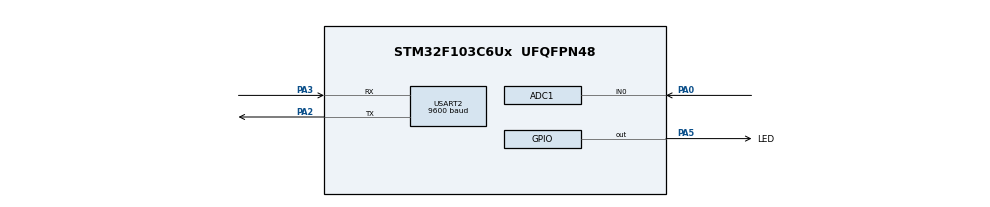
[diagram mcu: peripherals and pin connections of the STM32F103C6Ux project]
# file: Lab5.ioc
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ADC1.Channel-1\#ChannelRegularConversion=ADC_CHANNEL_0
ADC1.ContinuousConvMode=ENABLE
ADC1.NbrOfConversionFlag=1
ADC1.Rank-1\#ChannelRegularConversion=1
ADC1.SamplingTime-1\#ChannelRegularConversion=ADC_SAMPLETIME_1CYCLE_5
ADC1.master=1
Mcu.Family=STM32F1
Mcu.Name=STM32F103C6Ux
Mcu.Package=UFQFPN48
NVIC.PriorityGroup=NVIC_PRIORITYGROUP_4
NVIC.TIM2_IRQn=true\:0\:0\:false\:false\:true\:true\:true
NVIC.USART2_IRQn=true\:0\:0\:false\:false\:true\:true\:true
PA0-WKUP.Signal=ADCx_IN0
PA2.Mode=Asynchronous
PA2.Signal=USART2_TX
PA3.Mode=Asynchronous
PA3.Signal=USART2_RX
PA5.GPIO_Label=LED
PA5.Signal=GPIO_Output
ProjectManager.HeapSize=0x200
ProjectManager.StackSize=0x400
ProjectManager.TargetToolchain=STM32CubeIDE
RCC.APB1Freq_Value=8000000
RCC.APB2Freq_Value=8000000
SH.ADCx_IN0.0=ADC1_IN0,IN0
TIM2.Period=9
TIM2.Prescaler=7999
USART2.BaudRate=9600
USART2.VirtualMode=VM_ASYNC
VP_SYS_VS_ND.Mode=No_Debug
VP_TIM2_VS_ClockSourceINT.Mode=Internal
board=custom

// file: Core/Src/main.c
/* USER CODE BEGIN Header */
/**
  ******************************************************************************
  * @file           : main.c
  * @brief          : Main program body
  ******************************************************************************
  * @attention
  *
  * <h2><center>&copy; Copyright (c) 2025 STMicroelectronics.
  * All rights reserved.</center></h2>
  *
  * This software component is licensed by ST under BSD 3-Clause license,
  * the "License"; You may not use this file except in compliance with the
  * License. You may obtain a copy of the License at:
  *                        opensource.org/licenses/BSD-3-Clause
  *
  ******************************************************************************
  */
/* USER CODE END Header */
#include "main.h"
#include "fsm.h"
#include "timer.h"

ADC_HandleTypeDef hadc1;

TIM_HandleTypeDef htim2;

UART_HandleTypeDef huart2;

/* USER CODE BEGIN PV */
uint8_t temp = 0;
uint8_t buffer[MAX_BUFFER_SIZE];
uint8_t index_buffer = 0;
uint8_t buffer_flag = 0;
/* USER CODE END PV */

void SystemClock_Config(void);
static void MX_GPIO_Init(void);
static void MX_ADC1_Init(void);
static void MX_USART2_UART_Init(void);
static void MX_TIM2_Init(void);

/* USER CODE BEGIN 0 */

void HAL_UART_RxCpltCallback(UART_HandleTypeDef *huart) {
    if (huart->Instance == USART2) {
        // 1. Add character to buffer
        buffer[index_buffer++] = temp;

        // 2. Handle Ring Buffer Wrap-around
        if (index_buffer >= MAX_BUFFER_SIZE) {
            index_buffer = 0;
        }

        // 3. Set flag to tell Main Loop to run the Parser
        buffer_flag = 1;

        // 4. Restart Interrupt
        HAL_UART_Receive_IT(&huart2, &temp, 1);
    }
}
/* USER CODE END 0 */

int main(void)
{

  /* MCU Configuration--------------------------------------------------------*/

  /* Reset of all peripherals, Initializes the Flash interface and the Systick. */
  HAL_Init();

  /* Configure the system clock */
  SystemClock_Config();

  /* Initialize all configured peripherals */
  MX_GPIO_Init();
  MX_ADC1_Init();
  MX_USART2_UART_Init();
  MX_TIM2_Init();
  /* USER CODE BEGIN 2 */
  HAL_UART_Receive_IT(&huart2, &temp, 1);
  HAL_TIM_Base_Start_IT(&htim2);
  /* USER CODE END 2 */

  /* Infinite loop */
  /* USER CODE BEGIN WHILE */
  uint32_t ADC_value = 0;
  set_Timer1(500);
  while (1)
  {
    /* USER CODE END WHILE */
	if(timer1_flag == 1){
		set_Timer1(500);
		HAL_GPIO_TogglePin(LED_GPIO_Port, LED_Pin);
	}
	if(buffer_flag == 1){
		command_parser_fsm();
		buffer_flag = 0;
	}
	uart_communiation_fsm();
  }
}

void SystemClock_Config(void)
{
  RCC_OscInitTypeDef RCC_OscInitStruct = {0};
  RCC_ClkInitTypeDef RCC_ClkInitStruct = {0};
  RCC_PeriphCLKInitTypeDef PeriphClkInit = {0};

  /** Initializes the RCC Oscillators according to the specified parameters
  * in the RCC_OscInitTypeDef structure.
  */
  RCC_OscInitStruct.OscillatorType = RCC_OSCILLATORTYPE_HSI;
  RCC_OscInitStruct.HSIState = RCC_HSI_ON;
  RCC_OscInitStruct.HSICalibrationValue = RCC_HSICALIBRATION_DEFAULT;
  RCC_OscInitStruct.PLL.PLLState = RCC_PLL_NONE;
  if (HAL_RCC_OscConfig(&RCC_OscInitStruct) != HAL_OK)
  {
    Error_Handler();
  }
  /** Initializes the CPU, AHB and APB buses clocks
  */
  RCC_ClkInitStruct.ClockType = RCC_CLOCKTYPE_HCLK|RCC_CLOCKTYPE_SYSCLK
                              |RCC_CLOCKTYPE_PCLK1|RCC_CLOCKTYPE_PCLK2;
  RCC_ClkInitStruct.SYSCLKSource = RCC_SYSCLKSOURCE_HSI;
  RCC_ClkInitStruct.AHBCLKDivider = RCC_SYSCLK_DIV1;
  RCC_ClkInitStruct.APB1CLKDivider = RCC_HCLK_DIV1;
  RCC_ClkInitStruct.APB2CLKDivider = RCC_HCLK_DIV1;

  if (HAL_RCC_ClockConfig(&RCC_ClkInitStruct, FLASH_LATENCY_0) != HAL_OK)
  {
    Error_Handler();
  }
  PeriphClkInit.PeriphClockSelection = RCC_PERIPHCLK_ADC;
  PeriphClkInit.AdcClockSelection = RCC_ADCPCLK2_DIV2;
  if (HAL_RCCEx_PeriphCLKConfig(&PeriphClkInit) != HAL_OK)
  {
    Error_Handler();
  }
}

static void MX_ADC1_Init(void)
{

  ADC_ChannelConfTypeDef sConfig = {0};

  /** Common config
  */
  hadc1.Instance = ADC1;
  hadc1.Init.ScanConvMode = ADC_SCAN_DISABLE;
  hadc1.Init.ContinuousConvMode = ENABLE;
  hadc1.Init.DiscontinuousConvMode = DISABLE;
  hadc1.Init.ExternalTrigConv = ADC_SOFTWARE_START;
  hadc1.Init.DataAlign = ADC_DATAALIGN_RIGHT;
  hadc1.Init.NbrOfConversion = 1;
  if (HAL_ADC_Init(&hadc1) != HAL_OK)
  {
    Error_Handler();
  }
  /** Configure Regular Channel
  */
  sConfig.Channel = ADC_CHANNEL_0;
  sConfig.Rank = ADC_REGULAR_RANK_1;
  sConfig.SamplingTime = ADC_SAMPLETIME_1CYCLE_5;
  if (HAL_ADC_ConfigChannel(&hadc1, &sConfig) != HAL_OK)
  {
    Error_Handler();
  }

}

static void MX_TIM2_Init(void)
{

  TIM_ClockConfigTypeDef sClockSourceConfig = {0};
  TIM_MasterConfigTypeDef sMasterConfig = {0};

  htim2.Instance = TIM2;
  htim2.Init.Prescaler = 7999;
  htim2.Init.CounterMode = TIM_COUNTERMODE_UP;
  htim2.Init.Period = 9;
  htim2.Init.ClockDivision = TIM_CLOCKDIVISION_DIV1;
  htim2.Init.AutoReloadPreload = TIM_AUTORELOAD_PRELOAD_DISABLE;
  if (HAL_TIM_Base_Init(&htim2) != HAL_OK)
  {
    Error_Handler();
  }
  sClockSourceConfig.ClockSource = TIM_CLOCKSOURCE_INTERNAL;
  if (HAL_TIM_ConfigClockSource(&htim2, &sClockSourceConfig) != HAL_OK)
  {
    Error_Handler();
  }
  sMasterConfig.MasterOutputTrigger = TIM_TRGO_RESET;
  sMasterConfig.MasterSlaveMode = TIM_MASTERSLAVEMODE_DISABLE;
  if (HAL_TIMEx_MasterConfigSynchronization(&htim2, &sMasterConfig) != HAL_OK)
  {
    Error_Handler();
  }

}

static void MX_USART2_UART_Init(void)
{

  huart2.Instance = USART2;
  huart2.Init.BaudRate = 9600;
  huart2.Init.WordLength = UART_WORDLENGTH_8B;
  huart2.Init.StopBits = UART_STOPBITS_1;
  huart2.Init.Parity = UART_PARITY_NONE;
  huart2.Init.Mode = UART_MODE_TX_RX;
  huart2.Init.HwFlowCtl = UART_HWCONTROL_NONE;
  huart2.Init.OverSampling = UART_OVERSAMPLING_16;
  if (HAL_UART_Init(&huart2) != HAL_OK)
  {
    Error_Handler();
  }

}

static void MX_GPIO_Init(void)
{
  GPIO_InitTypeDef GPIO_InitStruct = {0};

  /* GPIO Ports Clock Enable */
  __HAL_RCC_GPIOA_CLK_ENABLE();

  /*Configure GPIO pin Output Level */
  HAL_GPIO_WritePin(LED_GPIO_Port, LED_Pin, GPIO_PIN_RESET);

  /*Configure GPIO pin : LED_Pin */
  GPIO_InitStruct.Pin = LED_Pin;
  GPIO_InitStruct.Mode = GPIO_MODE_OUTPUT_PP;
  GPIO_InitStruct.Pull = GPIO_NOPULL;
  GPIO_InitStruct.Speed = GPIO_SPEED_FREQ_LOW;
  HAL_GPIO_Init(LED_GPIO_Port, &GPIO_InitStruct);

}

/* USER CODE BEGIN 4 */
void HAL_TIM_PeriodElapsedCallback(TIM_HandleTypeDef *htim)
 {
	timer_run();
 }
/* USER CODE END 4 */

void Error_Handler(void)
{
  __disable_irq();
  while (1)
  {
  }
}

/************************ (C) COPYRIGHT STMicroelectronics *****END OF FILE****/
